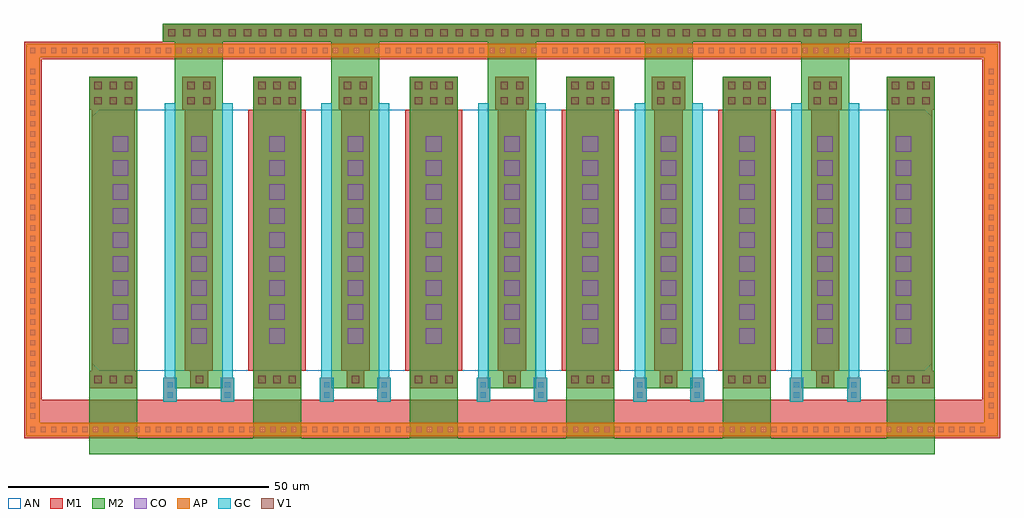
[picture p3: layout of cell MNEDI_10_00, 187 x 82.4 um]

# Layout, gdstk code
import gdstk
lib = gdstk.Library(unit=1e-6, precision=1e-09)
def R(c, l, rs):  # rectangles x0, y0, x1, y1
    for r in rs: c.add(gdstk.rectangle(r[:2], r[2:], *l))
def A(c, l, x, y, w, h, nx, ny, dx, dy):  # array of equal rectangles
    R(c, l, [(x+i*dx, y+j*dy, x+i*dx+w, y+j*dy+h) for i in range(nx) for j in range(ny)])
def P(c, l, *ps):  # polygons
    for p in ps: c.add(gdstk.Polygon(p, *l))
AP = (3, 1)
AN = (3, 2)
GC = (8, 1)
CO = (11, 0)
M1 = (13, 0)
V1 = (19, 0)
M2 = (20, 0)

wlmn_cdns_696586995293 = lib.new_cell('WLMN_CDNS_696586995293')

tc14_cdns_696586995290 = lib.new_cell('TC14_CDNS_696586995290')
R(tc14_cdns_696586995290, M1, [(-4.6,-3.1,4.6,3.2)])
A(tc14_cdns_696586995290, V1, -3.6, -2.1, 1.4, 1.4, 3, 2, 2.9, 2.9)
R(tc14_cdns_696586995290, M2, [(-4.6,-3.1,4.6,3.2)])

tc14_cdns_696586995291 = lib.new_cell('TC14_CDNS_696586995291')
R(tc14_cdns_696586995291, M1, [(-1.7,-3.1,1.7,3.2)])
R(tc14_cdns_696586995291, V1, [(-0.7,-2.1,0.7,-0.7), (-0.7,0.8,0.7,2.2)])
R(tc14_cdns_696586995291, M2, [(-1.7,-3.1,1.7,3.2)])

tc14_cdns_696586995292 = lib.new_cell('TC14_CDNS_696586995292')
R(tc14_cdns_696586995292, M1, [(-4.6,-1.7,4.6,1.7)])
A(tc14_cdns_696586995292, V1, -3.6, -0.7, 1.4, 1.4, 3, 1, 2.9, 0)
R(tc14_cdns_696586995292, M2, [(-4.6,-1.7,4.6,1.7)])

tc14_cdns_696586995293 = lib.new_cell('TC14_CDNS_696586995293')
R(tc14_cdns_696586995293, M1, [(-1.7,-1.7,1.7,1.7)])
R(tc14_cdns_696586995293, V1, [(-0.7,-0.7,0.7,0.7)])
R(tc14_cdns_696586995293, M2, [(-1.7,-1.7,1.7,1.7)])

sgct_cdns_696586995294 = lib.new_cell('SGCT_CDNS_696586995294')
R(sgct_cdns_696586995294, GC, [(-1.3,-2.3,1.3,2.3)])
R(sgct_cdns_696586995294, CO, [(-0.5,-1.5,0.5,-0.5), (-0.5,0.5,0.5,1.5)])
R(sgct_cdns_696586995294, M1, [(-1.3,-2.3,1.3,2.3)])

tc14_cdns_696586995295 = lib.new_cell('TC14_CDNS_696586995295')
R(tc14_cdns_696586995295, M1, [(-66.9,-1.7,67,1.7)])
A(tc14_cdns_696586995295, V1, -65.9, -0.7, 1.4, 1.4, 46, 1, 2.9, 0)
R(tc14_cdns_696586995295, M2, [(-66.9,-1.7,67,1.7)])

mnedi_10_00 = lib.new_cell('MNEDI_10_00')
P(mnedi_10_00, AP, [(5,5),(5,77.6),(7.6,77.6),(7.6,7.6),(188.6,7.6),(188.6,77.6),(5,77.6),(5,80.2),(191.2,80.2),(191.2,5)])
P(mnedi_10_00, AN, [(19,17.6),(17.6,19),(17.6,66.2),(19,67.6),(177.2,67.6),(178.6,66.2),(178.6,19),(177.2,17.6)],
  [(19,17.6),(17.6,19),(17.6,66.2),(19,67.6),(177.2,67.6),(178.6,66.2),(178.6,19),(177.2,17.6)])
R(mnedi_10_00, GC, [(31.6,16.2,33.6,68.8), (42.6,16.2,44.6,68.8), (61.6,16.2,63.6,68.8), (72.6,16.2,74.6,68.8), (91.6,16.2,93.6,68.8), (102.6,16.2,104.6,68.8), (121.6,16.2,123.6,68.8), (132.6,16.2,134.6,68.8), (151.6,16.2,153.6,68.8), (162.6,16.2,164.6,68.8)])
A(mnedi_10_00, CO, 5.8, 5.8, 1, 1, 92, 2, 2, 72.6)
A(mnedi_10_00, CO, 5.8, 8.4, 1, 1, 1, 34, 0, 2)
A(mnedi_10_00, CO, 189.4, 8.4, 1, 1, 1, 34, 0, 2)
A(mnedi_10_00, CO, 21.6, 22.7, 3, 3, 1, 9, 0, 4.6)
A(mnedi_10_00, CO, 171.6, 22.7, 3, 3, 1, 9, 0, 4.6)
R(mnedi_10_00, CO, [(36.6,22.7,39.6,25.7), (36.6,22.7,39.6,25.7), (51.6,22.7,54.6,25.7), (51.6,22.7,54.6,25.7), (66.6,22.7,69.6,25.7), (66.6,22.7,69.6,25.7), (81.6,22.7,84.6,25.7), (81.6,22.7,84.6,25.7), (96.6,22.7,99.6,25.7), (96.6,22.7,99.6,25.7), (111.6,22.7,114.6,25.7), (111.6,22.7,114.6,25.7), (126.6,22.7,129.6,25.7), (126.6,22.7,129.6,25.7), (141.6,22.7,144.6,25.7), (141.6,22.7,144.6,25.7), (156.6,22.7,159.6,25.7), (156.6,22.7,159.6,25.7), (36.6,27.3,39.6,30.3), (36.6,27.3,39.6,30.3), (51.6,27.3,54.6,30.3), (51.6,27.3,54.6,30.3), (66.6,27.3,69.6,30.3), (66.6,27.3,69.6,30.3), (81.6,27.3,84.6,30.3), (81.6,27.3,84.6,30.3), (96.6,27.3,99.6,30.3), (96.6,27.3,99.6,30.3), (111.6,27.3,114.6,30.3), (111.6,27.3,114.6,30.3), (126.6,27.3,129.6,30.3), (126.6,27.3,129.6,30.3), (141.6,27.3,144.6,30.3), (141.6,27.3,144.6,30.3), (156.6,27.3,159.6,30.3), (156.6,27.3,159.6,30.3), (36.6,31.9,39.6,34.9), (36.6,31.9,39.6,34.9), (51.6,31.9,54.6,34.9), (51.6,31.9,54.6,34.9), (66.6,31.9,69.6,34.9), (66.6,31.9,69.6,34.9), (81.6,31.9,84.6,34.9), (81.6,31.9,84.6,34.9), (96.6,31.9,99.6,34.9), (96.6,31.9,99.6,34.9), (111.6,31.9,114.6,34.9), (111.6,31.9,114.6,34.9), (126.6,31.9,129.6,34.9), (126.6,31.9,129.6,34.9), (141.6,31.9,144.6,34.9), (141.6,31.9,144.6,34.9), (156.6,31.9,159.6,34.9), (156.6,31.9,159.6,34.9), (36.6,36.5,39.6,39.5), (36.6,36.5,39.6,39.5), (51.6,36.5,54.6,39.5), (51.6,36.5,54.6,39.5), (66.6,36.5,69.6,39.5), (66.6,36.5,69.6,39.5), (81.6,36.5,84.6,39.5), (81.6,36.5,84.6,39.5), (96.6,36.5,99.6,39.5), (96.6,36.5,99.6,39.5), (111.6,36.5,114.6,39.5), (111.6,36.5,114.6,39.5), (126.6,36.5,129.6,39.5), (126.6,36.5,129.6,39.5), (141.6,36.5,144.6,39.5), (141.6,36.5,144.6,39.5), (156.6,36.5,159.6,39.5), (156.6,36.5,159.6,39.5), (36.6,41.1,39.6,44.1), (36.6,41.1,39.6,44.1), (51.6,41.1,54.6,44.1), (51.6,41.1,54.6,44.1), (66.6,41.1,69.6,44.1), (66.6,41.1,69.6,44.1), (81.6,41.1,84.6,44.1), (81.6,41.1,84.6,44.1), (96.6,41.1,99.6,44.1), (96.6,41.1,99.6,44.1), (111.6,41.1,114.6,44.1), (111.6,41.1,114.6,44.1), (126.6,41.1,129.6,44.1), (126.6,41.1,129.6,44.1), (141.6,41.1,144.6,44.1), (141.6,41.1,144.6,44.1), (156.6,41.1,159.6,44.1), (156.6,41.1,159.6,44.1), (36.6,45.7,39.6,48.7), (36.6,45.7,39.6,48.7), (51.6,45.7,54.6,48.7), (51.6,45.7,54.6,48.7), (66.6,45.7,69.6,48.7), (66.6,45.7,69.6,48.7), (81.6,45.7,84.6,48.7), (81.6,45.7,84.6,48.7), (96.6,45.7,99.6,48.7), (96.6,45.7,99.6,48.7), (111.6,45.7,114.6,48.7), (111.6,45.7,114.6,48.7), (126.6,45.7,129.6,48.7), (126.6,45.7,129.6,48.7), (141.6,45.7,144.6,48.7), (141.6,45.7,144.6,48.7), (156.6,45.7,159.6,48.7), (156.6,45.7,159.6,48.7), (36.6,50.3,39.6,53.3), (36.6,50.3,39.6,53.3), (51.6,50.3,54.6,53.3), (51.6,50.3,54.6,53.3), (66.6,50.3,69.6,53.3), (66.6,50.3,69.6,53.3), (81.6,50.3,84.6,53.3), (81.6,50.3,84.6,53.3), (96.6,50.3,99.6,53.3), (96.6,50.3,99.6,53.3), (111.6,50.3,114.6,53.3), (111.6,50.3,114.6,53.3), (126.6,50.3,129.6,53.3), (126.6,50.3,129.6,53.3), (141.6,50.3,144.6,53.3), (141.6,50.3,144.6,53.3), (156.6,50.3,159.6,53.3), (156.6,50.3,159.6,53.3), (36.6,54.9,39.6,57.9), (36.6,54.9,39.6,57.9), (51.6,54.9,54.6,57.9), (51.6,54.9,54.6,57.9), (66.6,54.9,69.6,57.9), (66.6,54.9,69.6,57.9), (81.6,54.9,84.6,57.9), (81.6,54.9,84.6,57.9), (96.6,54.9,99.6,57.9), (96.6,54.9,99.6,57.9), (111.6,54.9,114.6,57.9), (111.6,54.9,114.6,57.9), (126.6,54.9,129.6,57.9), (126.6,54.9,129.6,57.9), (141.6,54.9,144.6,57.9), (141.6,54.9,144.6,57.9), (156.6,54.9,159.6,57.9), (156.6,54.9,159.6,57.9), (36.6,59.5,39.6,62.5), (36.6,59.5,39.6,62.5), (51.6,59.5,54.6,62.5), (51.6,59.5,54.6,62.5), (66.6,59.5,69.6,62.5), (66.6,59.5,69.6,62.5), (81.6,59.5,84.6,62.5), (81.6,59.5,84.6,62.5), (96.6,59.5,99.6,62.5), (96.6,59.5,99.6,62.5), (111.6,59.5,114.6,62.5), (111.6,59.5,114.6,62.5), (126.6,59.5,129.6,62.5), (126.6,59.5,129.6,62.5), (141.6,59.5,144.6,62.5), (141.6,59.5,144.6,62.5), (156.6,59.5,159.6,62.5), (156.6,59.5,159.6,62.5)])
R(mnedi_10_00, M1, [(5,5,191.2,7.6), (5,7.6,7.6,77.6), (7.6,7.6,188.6,12), (188.6,7.6,191.2,77.6), (17.6,17.6,25.8,67.6), (35.4,17.6,40.8,67.6), (35.4,17.6,40.8,67.6), (47.6,17.6,55.8,67.6), (50.4,17.6,58.6,67.6), (65.4,17.6,70.8,67.6), (65.4,17.6,70.8,67.6), (77.6,17.6,85.8,67.6), (80.4,17.6,88.6,67.6), (95.4,17.6,100.8,67.6), (95.4,17.6,100.8,67.6), (107.6,17.6,115.8,67.6), (110.4,17.6,118.6,67.6), (125.4,17.6,130.8,67.6), (125.4,17.6,130.8,67.6), (137.6,17.6,145.8,67.6), (140.4,17.6,148.6,67.6), (155.4,17.6,160.8,67.6), (155.4,17.6,160.8,67.6), (170.4,17.6,178.6,67.6), (5,77.6,191.2,80.2)])
A(mnedi_10_00, M2, 48.5, 1.6, 9.2, 72.3, 4, 1, 30, 0)
A(mnedi_10_00, M2, 33.5, 14.2, 9.2, 69.8, 5, 1, 30, 0)
R(mnedi_10_00, M2, [(17.1,1.6,26.3,73.9), (17.1,1.6,18.6,3.1), (169.9,1.6,179.1,73.9), (31.5,83,32.5,84)])
mnedi_10_00.add(gdstk.FlexPath([(189.9,4.6),(189.9,80.6)], 3.4, ends="flush", simple_path=True, layer=13, datatype=0))  # M1
mnedi_10_00.add(gdstk.FlexPath([(4.6,6.3),(191.2,6.3)], 3.4, ends="flush", simple_path=True, layer=13, datatype=0))  # M1
mnedi_10_00.add(gdstk.FlexPath([(4.6,78.9),(191.6,78.9)], 3.4, ends="flush", simple_path=True, layer=13, datatype=0))  # M1
mnedi_10_00.add(gdstk.FlexPath([(6.3,4.6),(6.3,80.6)], 3.4, ends="flush", simple_path=True, layer=13, datatype=0))  # M1
mnedi_10_00.add(gdstk.FlexPath([(179.1,3.1),(17.1,3.1)], 3, ends="flush", simple_path=True, layer=20, datatype=0))  # M2
mnedi_10_00.add(gdstk.Reference(wlmn_cdns_696586995293, (0,0)))
mnedi_10_00.add(gdstk.Reference(tc14_cdns_696586995290, (174.5,70.7)))
mnedi_10_00.add(gdstk.Reference(tc14_cdns_696586995290, (143.1,70.7)))
mnedi_10_00.add(gdstk.Reference(tc14_cdns_696586995290, (113.1,70.7)))
mnedi_10_00.add(gdstk.Reference(tc14_cdns_696586995290, (83.1,70.7)))
mnedi_10_00.add(gdstk.Reference(tc14_cdns_696586995290, (53.1,70.7)))
mnedi_10_00.add(gdstk.Reference(tc14_cdns_696586995290, (21.7,70.7)))
mnedi_10_00.add(gdstk.Reference(tc14_cdns_696586995291, (159.6,70.7)))
mnedi_10_00.add(gdstk.Reference(tc14_cdns_696586995291, (156.6,70.7)))
mnedi_10_00.add(gdstk.Reference(tc14_cdns_696586995291, (129.6,70.7)))
mnedi_10_00.add(gdstk.Reference(tc14_cdns_696586995291, (126.6,70.7)))
mnedi_10_00.add(gdstk.Reference(tc14_cdns_696586995291, (99.6,70.7)))
mnedi_10_00.add(gdstk.Reference(tc14_cdns_696586995291, (96.6,70.7)))
mnedi_10_00.add(gdstk.Reference(tc14_cdns_696586995291, (69.6,70.7)))
mnedi_10_00.add(gdstk.Reference(tc14_cdns_696586995291, (66.6,70.7)))
mnedi_10_00.add(gdstk.Reference(tc14_cdns_696586995291, (39.6,70.7)))
mnedi_10_00.add(gdstk.Reference(tc14_cdns_696586995291, (36.6,70.7)))
mnedi_10_00.add(gdstk.Reference(tc14_cdns_696586995292, (174.5,15.9)))
mnedi_10_00.add(gdstk.Reference(tc14_cdns_696586995292, (143.1,15.9)))
mnedi_10_00.add(gdstk.Reference(tc14_cdns_696586995292, (113.1,15.9)))
mnedi_10_00.add(gdstk.Reference(tc14_cdns_696586995292, (83.1,15.9)))
mnedi_10_00.add(gdstk.Reference(tc14_cdns_696586995292, (53.1,15.9)))
mnedi_10_00.add(gdstk.Reference(tc14_cdns_696586995292, (21.7,15.9)))
mnedi_10_00.add(gdstk.Reference(tc14_cdns_696586995293, (158.1,15.9)))
mnedi_10_00.add(gdstk.Reference(tc14_cdns_696586995293, (128.1,15.9)))
mnedi_10_00.add(gdstk.Reference(tc14_cdns_696586995293, (98.1,15.9)))
mnedi_10_00.add(gdstk.Reference(tc14_cdns_696586995293, (68.1,15.9)))
mnedi_10_00.add(gdstk.Reference(tc14_cdns_696586995293, (38.2,15.9)))
mnedi_10_00.add(gdstk.Reference(sgct_cdns_696586995294, (163.6,13.9)))
mnedi_10_00.add(gdstk.Reference(sgct_cdns_696586995294, (152.6,13.9)))
mnedi_10_00.add(gdstk.Reference(sgct_cdns_696586995294, (133.6,13.9)))
mnedi_10_00.add(gdstk.Reference(sgct_cdns_696586995294, (122.6,13.9)))
mnedi_10_00.add(gdstk.Reference(sgct_cdns_696586995294, (103.6,13.9)))
mnedi_10_00.add(gdstk.Reference(sgct_cdns_696586995294, (92.6,13.9)))
mnedi_10_00.add(gdstk.Reference(sgct_cdns_696586995294, (73.6,13.9)))
mnedi_10_00.add(gdstk.Reference(sgct_cdns_696586995294, (62.6,13.9)))
mnedi_10_00.add(gdstk.Reference(sgct_cdns_696586995294, (43.6,13.9)))
mnedi_10_00.add(gdstk.Reference(sgct_cdns_696586995294, (32.6,13.9)))
mnedi_10_00.add(gdstk.Reference(tc14_cdns_696586995295, (98.1,82.3)))

lib.write_gds('MNEDI_10_00.gds')
